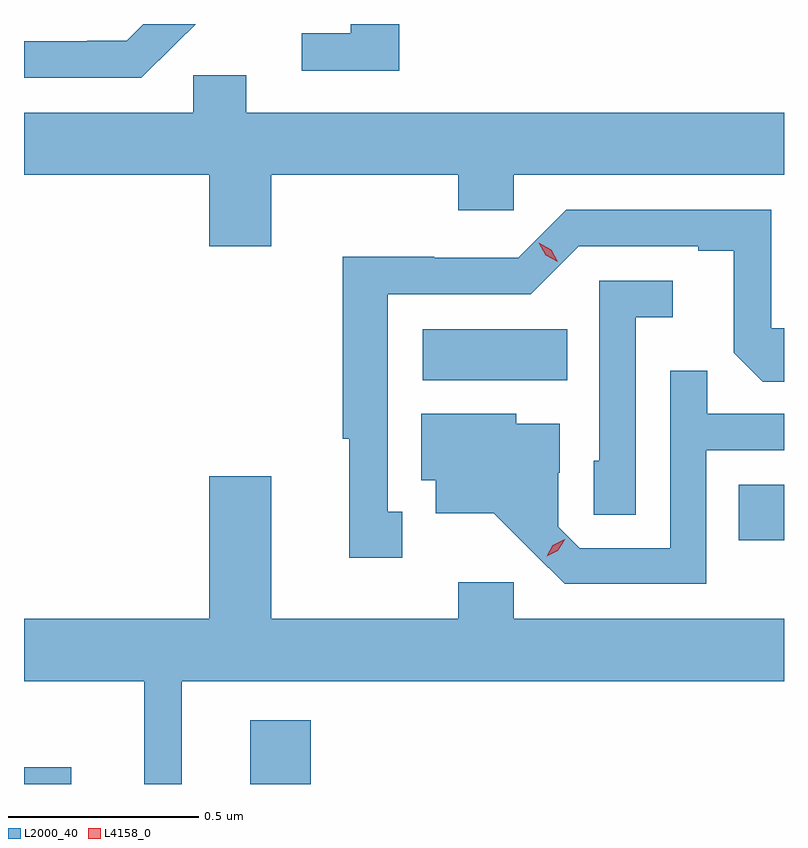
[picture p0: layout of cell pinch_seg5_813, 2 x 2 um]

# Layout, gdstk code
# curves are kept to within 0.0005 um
import gdstk
lib = gdstk.Library(unit=1e-6, precision=1e-09)
def R(c, l, rs):  # rectangles x0, y0, x1, y1
    for r in rs: c.add(gdstk.rectangle(r[:2], r[2:], *l))
def P(c, l, *ps):  # polygons
    for p in ps: c.add(gdstk.Polygon(p, *l))
L2000_40 = (2000, 40)
L4158_0 = (4158, 0)

pinch_seg5_813 = lib.new_cell('pinch_seg5_813')
R(pinch_seg5_813, L2000_40, [(787.897,908.437,788.021,908.481), (788.492,908.437,788.651,908.605), (789.778,909.078,789.897,909.225), (788.946,909.5,789.326,909.634)])
P(pinch_seg5_813, L2000_40, [(788.297,910.387),(788.298,910.386),(788.349,910.437),(788.211,910.437),(788.167,910.393),(788.063,910.393),(788.063,910.392),(787.897,910.392),(787.897,910.296),(788.206,910.296)],
  [(788.885,910.437),(788.757,910.437),(788.757,910.413),(788.628,910.413),(788.628,910.314),(788.885,910.314)],
  [(788.548,910.04),(789.04,910.04),(789.04,909.947),(789.186,909.947),(789.186,910.04),(789.897,910.04),(789.897,910.204),(788.482,910.204),(788.482,910.302),(788.343,910.302),(788.343,910.204),(787.897,910.204),(787.897,910.04),(788.384,910.04),(788.384,909.852),(788.548,909.852)],
  [(788.893,909.153),(788.854,909.153),(788.854,909.726),(789.231,909.726),(789.357,909.852),(789.671,909.852),(789.671,909.84),(789.765,909.84),(789.765,909.572),(789.841,909.496),(789.897,909.496),(789.897,909.636),(789.864,909.636),(789.864,909.948),(789.324,909.948),(789.198,909.822),(788.976,909.822),(788.976,909.824),(788.736,909.824),(788.736,909.345),(788.753,909.345),(788.753,909.033),(788.893,909.033)],
  [(789.507,909.665),(789.604,909.665),(789.604,909.762),(789.411,909.762),(789.411,909.288),(789.396,909.288),(789.396,909.145),(789.507,909.145)],
  [(789.693,909.315),(789.897,909.315),(789.897,909.411),(789.695,909.411),(789.695,909.524),(789.597,909.524),(789.597,909.057),(789.36,909.057),(789.303,909.114),(789.303,909.256),(789.307,909.256),(789.307,909.385),(789.192,909.385),(789.192,909.412),(788.942,909.412),(788.942,909.236),(788.981,909.236),(788.981,909.149),(789.133,909.149),(789.32,908.964),(789.693,908.964)],
  [(788.312,908.708),(789.897,908.708),(789.897,908.872),(789.186,908.872),(789.186,908.968),(789.04,908.968),(789.04,908.872),(788.548,908.872),(788.548,909.247),(788.384,909.247),(788.384,908.872),(787.897,908.872),(787.897,908.708),(788.213,908.708),(788.213,908.437),(788.312,908.437)])
P(pinch_seg5_813, L4158_0, [(789.272,909.036),(789.272,909.036),(789.289,909.065),(789.32,909.081),(789.32,909.081),(789.32,909.08),(789.302,909.051),(789.272,909.036)],
  [(789.301,909.811),(789.27,909.829),(789.252,909.861),(789.252,909.861),(789.252,909.861),(789.284,909.843),(789.302,909.811),(789.302,909.811)])

lib.write_gds('pinch_seg5_813.gds')
